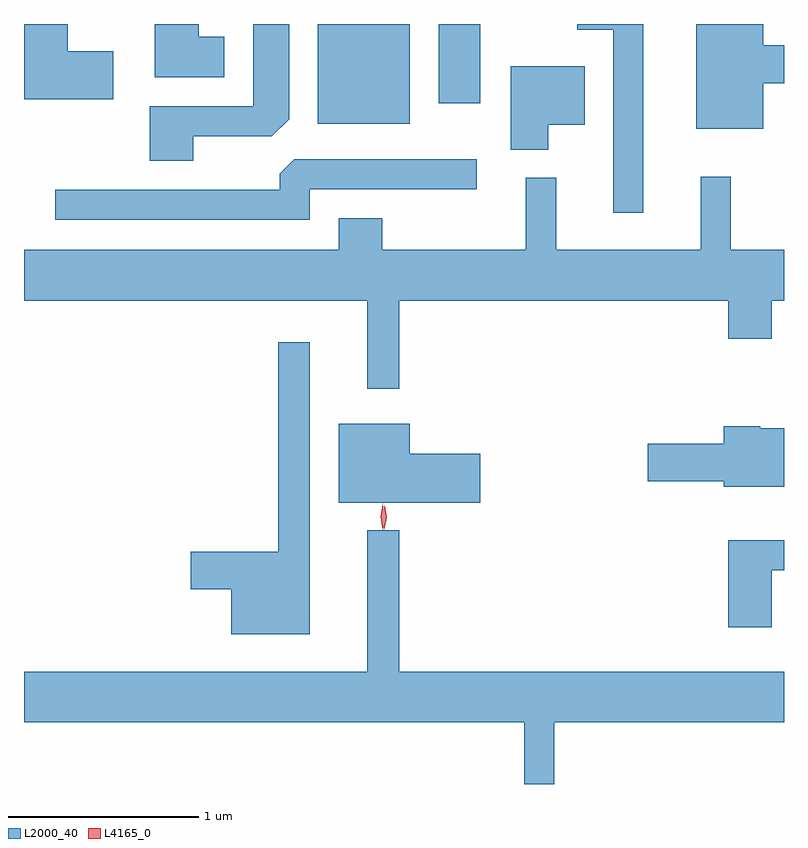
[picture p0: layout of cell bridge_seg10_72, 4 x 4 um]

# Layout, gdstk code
import gdstk
lib = gdstk.Library(unit=1e-6, precision=1e-09)
def R(c, l, rs):  # rectangles x0, y0, x1, y1
    for r in rs: c.add(gdstk.rectangle(r[:2], r[2:], *l))
def P(c, l, *ps):  # polygons
    for p in ps: c.add(gdstk.Polygon(p, *l))
L2000_40 = (2000, 40)
L4165_0 = (4165, 0)

bridge_seg10_72 = lib.new_cell('bridge_seg10_72')
R(bridge_seg10_72, L2000_40, [(1535.911,2174.786,1536.394,2175.312), (1536.546,2174.896,1536.764,2175.312)])
P(bridge_seg10_72, L2000_40, [(1538.254,2175.001),(1538.364,2175.001),(1538.364,2175.199),(1538.254,2175.199),(1538.254,2175.312),(1537.901,2175.312),(1537.901,2174.761),(1538.254,2174.761)],
  [(1534.834,2175.169),(1534.594,2175.169),(1534.594,2175.312),(1534.364,2175.312),(1534.364,2174.916),(1534.834,2174.916)],
  [(1535.419,2175.244),(1535.284,2175.244),(1535.284,2175.312),(1535.051,2175.312),(1535.051,2175.031),(1535.419,2175.031)],
  [(1535.254,2174.721),(1535.669,2174.721),(1535.759,2174.812),(1535.759,2175.312),(1535.571,2175.312),(1535.571,2174.879),(1535.026,2174.879),(1535.026,2174.591),(1535.254,2174.591)],
  [(1537.624,2175.312),(1537.276,2175.312),(1537.276,2175.281),(1537.466,2175.281),(1537.466,2174.318),(1537.624,2174.318)],
  [(1537.124,2174.781),(1537.314,2174.781),(1537.314,2175.089),(1536.926,2175.089),(1536.926,2174.651),(1537.124,2174.651)],
  [(1535.869,2174.441),(1536.748,2174.441),(1536.748,2174.599),(1535.787,2174.599),(1535.711,2174.524),(1535.711,2174.439),(1534.528,2174.439),(1534.528,2174.281),(1535.869,2174.281)],
  [(1536.339,2173.856),(1538.071,2173.856),(1538.071,2173.656),(1538.299,2173.656),(1538.299,2173.856),(1538.364,2173.856),(1538.364,2174.124),(1538.084,2174.124),(1538.084,2174.508),(1537.926,2174.508),(1537.926,2174.124),(1537.164,2174.124),(1537.164,2174.503),(1537.006,2174.503),(1537.006,2174.124),(1536.249,2174.124),(1536.249,2174.289),(1536.021,2174.289),(1536.021,2174.124),(1534.364,2174.124),(1534.364,2173.856),(1536.171,2173.856),(1536.171,2173.393),(1536.339,2173.393)],
  [(1535.869,2173.638),(1535.701,2173.638),(1535.701,2172.534),(1535.241,2172.534),(1535.241,2172.336),(1535.456,2172.336),(1535.456,2172.101),(1535.869,2172.101)],
  [(1536.764,2173.049),(1536.394,2173.049),(1536.394,2173.209),(1536.021,2173.209),(1536.021,2172.791),(1536.764,2172.791)],
  [(1538.364,2173.184),(1538.24,2173.184),(1538.24,2173.194),(1538.046,2173.194),(1538.046,2173.104),(1537.646,2173.104),(1537.646,2172.906),(1538.046,2172.906),(1538.046,2172.876),(1538.364,2172.876)],
  [(1537.154,2171.636),(1538.364,2171.636),(1538.364,2171.904),(1536.339,2171.904),(1536.339,2172.648),(1536.171,2172.648),(1536.171,2171.904),(1534.364,2171.904),(1534.364,2171.636),(1536.996,2171.636),(1536.996,2171.312),(1537.154,2171.312)],
  [(1538.299,2172.436),(1538.364,2172.436),(1538.364,2172.594),(1538.071,2172.594),(1538.071,2172.136),(1538.299,2172.136)])
P(bridge_seg10_72, L4165_0, [(1536.26,2172.653),(1536.252,2172.716),(1536.262,2172.779),(1536.262,2172.78),(1536.263,2172.779),(1536.272,2172.716),(1536.261,2172.653),(1536.261,2172.653)],
  [(1536.252,2172.65),(1536.242,2172.718),(1536.251,2172.785),(1536.252,2172.786),(1536.252,2172.785),(1536.262,2172.718),(1536.253,2172.65),(1536.253,2172.65)])

lib.write_gds('bridge_seg10_72.gds')
